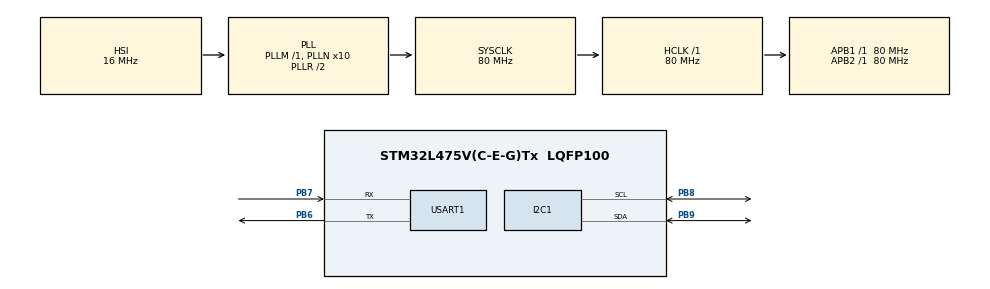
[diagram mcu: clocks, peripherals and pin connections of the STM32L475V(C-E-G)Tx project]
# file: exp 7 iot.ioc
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I2C1.Timing=0x10D19CE4
Mcu.Family=STM32L4
Mcu.Name=STM32L475V(C-E-G)Tx
Mcu.Package=LQFP100
NVIC.PriorityGroup=NVIC_PRIORITYGROUP_4
PB6.Mode=Asynchronous
PB6.Signal=USART1_TX
PB7.Mode=Asynchronous
PB7.Signal=USART1_RX
PB8.Mode=I2C
PB8.Signal=I2C1_SCL
PB9.Mode=I2C
PB9.Signal=I2C1_SDA
PH0-OSC_IN\ (PH0).Mode=HSE-External-Clock-Source
PH0-OSC_IN\ (PH0).Signal=RCC_OSC_IN
ProjectManager.HeapSize=0x200
ProjectManager.StackSize=0x400
ProjectManager.TargetToolchain=STM32CubeIDE
RCC.ADCFreq_Value=64000000
RCC.AHBFreq_Value=80000000
RCC.APB1Freq_Value=80000000
RCC.APB1TimFreq_Value=80000000
RCC.APB2Freq_Value=80000000
RCC.APB2TimFreq_Value=80000000
RCC.CortexFreq_Value=80000000
RCC.HCLKFreq_Value=80000000
RCC.HSE_VALUE=8000000
RCC.HSI_VALUE=16000000
RCC.LSE_VALUE=32768
RCC.MSI_VALUE=4000000
RCC.PLLN=10
RCC.PLLSourceVirtual=RCC_PLLSOURCE_HSI
RCC.SYSCLKFreq_VALUE=80000000
RCC.SYSCLKSource=RCC_SYSCLKSOURCE_PLLCLK
RCC.USBFreq_Value=64000000
RCC.VCOOutputFreq_Value=160000000
USART1.VirtualMode-Asynchronous=VM_ASYNC
board=custom

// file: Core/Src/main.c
/* USER CODE BEGIN Header */

/**

  ******************************************************************************

  * @file           : main.c

  * @brief          : Main program body

  ******************************************************************************

  * @attention

  *

  * Copyright (c) 2026 STMicroelectronics.

  * All rights reserved.

  *

  * This software is licensed under terms that can be found in the LICENSE file

  * in the root directory of this software component.

  * If no LICENSE file comes with this software, it is provided AS-IS.

  *

  ******************************************************************************

  */

/* USER CODE END Header */

#include "main.h"

#include "stm32l475e_iot01.h"

#include "stm32l475e_iot01_tsensor.h"

#include "stdlib.h"

#include "string.h"

#include "stdio.h"

#include <math.h>

#define SLAVE_ADDRESS_LCD 0x4E

I2C_HandleTypeDef hi2c1;

UART_HandleTypeDef huart1;

/* USER CODE BEGIN PV */

char str[40];

float temp_value = 0;  // Measured temperature value

char str_tmp[100] = ""; // Formatted message to display the temperature value

uint8_t msg3[] = "=====> Temperature sensor HTS221 initialized \r\n ";

/* USER CODE END PV */

void SystemClock_Config(void);

static void MX_GPIO_Init(void);

static void MX_I2C1_Init(void);

static void MX_USART1_UART_Init(void);

/* USER CODE BEGIN 0 */

#define SLAVE_ADDRESS_LCD 0x4E

void lcd_send_data(char data) {

    char data_u, data_l;

    uint8_t data_t[4];

    data_u = (data & 0xf0);

    data_l = ((data << 4) & 0xf0);

    data_t[0] = data_u | 0x0D;  // en=1, rs=1

    data_t[1] = data_u | 0x09;  // en=0, rs=1

    data_t[2] = data_l | 0x0D;  // en=1, rs=1

    data_t[3] = data_l | 0x09;  // en=0, rs=1

    HAL_I2C_Master_Transmit(&hi2c1, SLAVE_ADDRESS_LCD, data_t, 4, 100);

    HAL_Delay(1);  // Small delay for LCD stability

}

void lcd_send_cmd(char cmd) {

    char data_u, data_l;

    uint8_t data_t[4];

    data_u = (cmd & 0xf0);

    data_l = ((cmd << 4) & 0xf0);

    data_t[0] = data_u | 0x0C;  // en=1, rs=0

    data_t[1] = data_u | 0x08;  // en=0, rs=0

    data_t[2] = data_l | 0x0C;  // en=1, rs=0

    data_t[3] = data_l | 0x08;  // en=0, rs=0

    HAL_I2C_Master_Transmit(&hi2c1, SLAVE_ADDRESS_LCD, data_t, 4, 100);

    HAL_Delay(2);  // Command needs more delay

}

void lcd_init(void) {

    HAL_Delay(50);

    lcd_send_cmd(0x30);

    HAL_Delay(5);

    lcd_send_cmd(0x30);

    HAL_Delay(5);

    lcd_send_cmd(0x30);

    HAL_Delay(5);

    lcd_send_cmd(0x20);  // 4-bit mode

    HAL_Delay(5);

    lcd_send_cmd(0x28);  // 4-bit, 2 lines

    lcd_send_cmd(0x08);  // Display off

    lcd_send_cmd(0x01);  // Clear

    HAL_Delay(2);

    lcd_send_cmd(0x06);  // Entry mode

    lcd_send_cmd(0x0C);  // Display on, no cursor

}

void lcd_clear(void) {

    lcd_send_cmd(0x01);

    HAL_Delay(2);

}

void lcd_set_cursor(uint8_t col, uint8_t row) {

    uint8_t address;

    if (row == 0) {

        address = 0x80 + col;

    } else {

        address = 0xC0 + col;

    }

    lcd_send_cmd(address);

}

void lcd_send_string(char *str) {

    while (*str) {

        lcd_send_data(*str++);

    }

}

/* USER CODE END 0 */

int main(void)

{

  /* MCU Configuration--------------------------------------------------------*/

  /* Reset of all peripherals, Initializes the Flash interface and the Systick. */

  HAL_Init();

  /* Configure the system clock */

  SystemClock_Config();

  /* Initialize all configured peripherals */

  MX_GPIO_Init();

  MX_I2C1_Init();

  MX_USART1_UART_Init();

  /* USER CODE BEGIN 2 */

  BSP_TSENSOR_Init();

    HAL_UART_Transmit(&huart1, msg3, sizeof(msg3), 1000);

    // Initialize LCD once here

    lcd_init();

    HAL_Delay(100);

  /* USER CODE END 2 */

  /* Infinite loop */

  /* USER CODE BEGIN WHILE */

    static uint8_t lcd_initialized = 0;

    while (1)

  {

    /* USER CODE END WHILE */

    /* USER CODE BEGIN 3 */

	  temp_value = BSP_TSENSOR_ReadTemp();

	                snprintf(str_tmp, sizeof(str_tmp), "Temp: %.2f C\r\n", temp_value);

	   HAL_UART_Transmit(&huart1, (uint8_t*)str_tmp, strlen(str_tmp), 1000);

	                if(!lcd_initialized)

	                   {

	  	          lcd_init();

	  	          lcd_initialized = 1;

	  	      }

	  	      lcd_clear();

	            lcd_set_cursor(0, 0);  // <- This uses the function

	  	      lcd_send_string(str_tmp);

	  	      HAL_Delay(1000);

  }

  /* USER CODE END 3 */

}

void SystemClock_Config(void)

{

  RCC_OscInitTypeDef RCC_OscInitStruct = {0};

  RCC_ClkInitTypeDef RCC_ClkInitStruct = {0};

  /** Configure the main internal regulator output voltage

  */

  if (HAL_PWREx_ControlVoltageScaling(PWR_REGULATOR_VOLTAGE_SCALE1) != HAL_OK)

  {

    Error_Handler();

  }

  /** Initializes the RCC Oscillators according to the specified parameters

  * in the RCC_OscInitTypeDef structure.

  */

  RCC_OscInitStruct.OscillatorType = RCC_OSCILLATORTYPE_HSI;

  RCC_OscInitStruct.HSIState = RCC_HSI_ON;

  RCC_OscInitStruct.HSICalibrationValue = RCC_HSICALIBRATION_DEFAULT;

  RCC_OscInitStruct.PLL.PLLState = RCC_PLL_ON;

  RCC_OscInitStruct.PLL.PLLSource = RCC_PLLSOURCE_HSI;

  RCC_OscInitStruct.PLL.PLLM = 1;

  RCC_OscInitStruct.PLL.PLLN = 10;

  RCC_OscInitStruct.PLL.PLLP = RCC_PLLP_DIV7;

  RCC_OscInitStruct.PLL.PLLQ = RCC_PLLQ_DIV2;

  RCC_OscInitStruct.PLL.PLLR = RCC_PLLR_DIV2;

  if (HAL_RCC_OscConfig(&RCC_OscInitStruct) != HAL_OK)

  {

    Error_Handler();

  }

  /** Initializes the CPU, AHB and APB buses clocks

  */

  RCC_ClkInitStruct.ClockType = RCC_CLOCKTYPE_HCLK|RCC_CLOCKTYPE_SYSCLK

                              |RCC_CLOCKTYPE_PCLK1|RCC_CLOCKTYPE_PCLK2;

  RCC_ClkInitStruct.SYSCLKSource = RCC_SYSCLKSOURCE_PLLCLK;

  RCC_ClkInitStruct.AHBCLKDivider = RCC_SYSCLK_DIV1;

  RCC_ClkInitStruct.APB1CLKDivider = RCC_HCLK_DIV1;

  RCC_ClkInitStruct.APB2CLKDivider = RCC_HCLK_DIV1;

  if (HAL_RCC_ClockConfig(&RCC_ClkInitStruct, FLASH_LATENCY_4) != HAL_OK)

  {

    Error_Handler();

  }

}

static void MX_I2C1_Init(void)

{

  hi2c1.Instance = I2C1;

  hi2c1.Init.Timing = 0x10D19CE4;

  hi2c1.Init.OwnAddress1 = 0;

  hi2c1.Init.AddressingMode = I2C_ADDRESSINGMODE_7BIT;

  hi2c1.Init.DualAddressMode = I2C_DUALADDRESS_DISABLE;

  hi2c1.Init.OwnAddress2 = 0;

  hi2c1.Init.OwnAddress2Masks = I2C_OA2_NOMASK;

  hi2c1.Init.GeneralCallMode = I2C_GENERALCALL_DISABLE;

  hi2c1.Init.NoStretchMode = I2C_NOSTRETCH_DISABLE;

  if (HAL_I2C_Init(&hi2c1) != HAL_OK)

  {

    Error_Handler();

  }

  /** Configure Analogue filter

  */

  if (HAL_I2CEx_ConfigAnalogFilter(&hi2c1, I2C_ANALOGFILTER_ENABLE) != HAL_OK)

  {

    Error_Handler();

  }

  /** Configure Digital filter

  */

  if (HAL_I2CEx_ConfigDigitalFilter(&hi2c1, 0) != HAL_OK)

  {

    Error_Handler();

  }

}

static void MX_USART1_UART_Init(void)

{

  huart1.Instance = USART1;

  huart1.Init.BaudRate = 115200;

  huart1.Init.WordLength = UART_WORDLENGTH_8B;

  huart1.Init.StopBits = UART_STOPBITS_1;

  huart1.Init.Parity = UART_PARITY_NONE;

  huart1.Init.Mode = UART_MODE_TX_RX;

  huart1.Init.HwFlowCtl = UART_HWCONTROL_NONE;

  huart1.Init.OverSampling = UART_OVERSAMPLING_16;

  huart1.Init.OneBitSampling = UART_ONE_BIT_SAMPLE_DISABLE;

  huart1.AdvancedInit.AdvFeatureInit = UART_ADVFEATURE_NO_INIT;

  if (HAL_UART_Init(&huart1) != HAL_OK)

  {

    Error_Handler();

  }

}

static void MX_GPIO_Init(void)

{

  /* GPIO Ports Clock Enable */

  __HAL_RCC_GPIOC_CLK_ENABLE();

  __HAL_RCC_GPIOH_CLK_ENABLE();

  __HAL_RCC_GPIOB_CLK_ENABLE();

}

void Error_Handler(void)

{

  __disable_irq();
  while (1)
  {
  }

}
